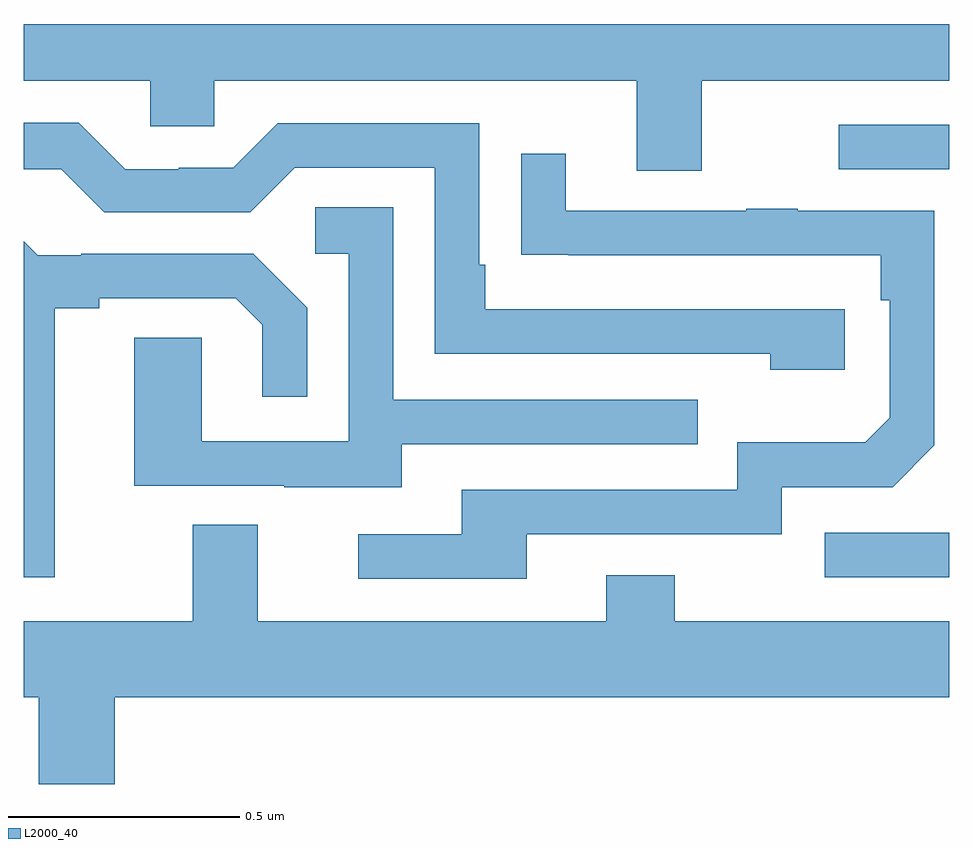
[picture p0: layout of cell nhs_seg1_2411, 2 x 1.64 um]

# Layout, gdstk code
import gdstk
lib = gdstk.Library(unit=1e-6, precision=1e-09)
def R(c, l, rs):  # rectangles x0, y0, x1, y1
    for r in rs: c.add(gdstk.rectangle(r[:2], r[2:], *l))
def P(c, l, *ps):  # polygons
    for p in ps: c.add(gdstk.Polygon(p, *l))
L2000_40 = (2000, 40)

nhs_seg1_2411 = lib.new_cell('nhs_seg1_2411')
R(nhs_seg1_2411, L2000_40, [(142.731,540.003,143,540.099), (142.761,540.885,143,540.981)])
P(nhs_seg1_2411, L2000_40, [(142.465,541.076),(143,541.076),(143,541.199),(141,541.199),(141,541.076),(141.273,541.076),(141.273,540.978),(141.411,540.978),(141.411,541.076),(142.325,541.076),(142.325,540.882),(142.465,540.882)],
  [(142.774,540.582),(141.997,540.582),(141.997,540.679),(141.984,540.679),(141.984,540.984),(141.549,540.984),(141.453,540.888),(141.335,540.888),(141.335,540.885),(141.219,540.885),(141.119,540.985),(141,540.985),(141,540.885),(141.081,540.885),(141.174,540.792),(141.489,540.792),(141.585,540.888),(141.888,540.888),(141.888,540.486),(142.613,540.486),(142.613,540.452),(142.774,540.452)],
  [(142.087,540.096),(142.638,540.096),(142.638,540.198),(142.878,540.198),(142.968,540.288),(142.968,540.795),(142.673,540.795),(142.673,540.8),(142.561,540.8),(142.561,540.795),(142.171,540.795),(142.171,540.919),(142.075,540.919),(142.075,540.7),(142.177,540.7),(142.177,540.699),(142.852,540.699),(142.852,540.602),(142.872,540.602),(142.872,540.348),(142.819,540.295),(142.542,540.295),(142.542,540.192),(141.947,540.192),(141.947,540.096),(141.723,540.096),(141.723,540),(142.087,540)],
  [(141.817,540.291),(142.457,540.291),(142.457,540.387),(141.798,540.387),(141.798,540.803),(141.63,540.803),(141.63,540.702),(141.702,540.702),(141.702,540.297),(141.384,540.297),(141.384,540.521),(141.239,540.521),(141.239,540.201),(141.563,540.201),(141.563,540.197),(141.817,540.197)],
  [(141.067,540.584),(141.163,540.584),(141.163,540.606),(141.458,540.606),(141.515,540.549),(141.515,540.393),(141.612,540.393),(141.612,540.586),(141.496,540.702),(141.124,540.702),(141.124,540.699),(141.03,540.699),(141,540.729),(141,540.003),(141.067,540.003)],
  [(141.196,539.744),(143,539.744),(143,539.908),(142.407,539.908),(142.407,540.007),(142.259,540.007),(142.259,539.908),(141.505,539.908),(141.505,540.116),(141.365,540.116),(141.365,539.908),(141,539.908),(141,539.744),(141.032,539.744),(141.032,539.556),(141.196,539.556)])

lib.write_gds('nhs_seg1_2411.gds')
